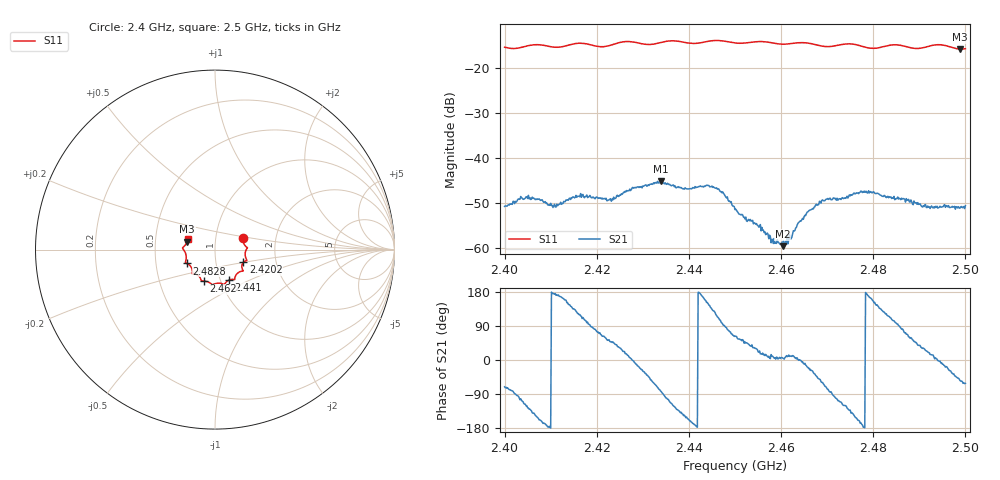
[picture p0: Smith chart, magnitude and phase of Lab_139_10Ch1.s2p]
# Hz S RI R 50
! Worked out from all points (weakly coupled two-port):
!   601 points, 2.4 GHz to 2.5 GHz, reference 50 ohm
!   highest |S21| = -45.16 dB at 2.434 GHz (marker M1); lowest = -59.5 dB at 2.4603 GHz (marker M2)
!   lowest |S11| = -15.8 dB at 2.4988 GHz (marker M3), VSWR 1.39, Z = 36.4 + j3.29 ohm
!   |S11| at or under -10 dB: start of sweep to end of sweep
!   S12 and S22 are empty: the file has one direction only
!   S11 on the Smith chart (normalised r, x): 2.4 GHz: 1.36, +0.18; 2.4202 GHz: 1.36, -0.20; 2.441 GHz: 1.10, -0.39; 2.462 GHz: 0.84, -0.30; 2.4828 GHz: 0.72, -0.11; 2.5 GHz: 0.73, +0.09
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2.4e9  0.1574 0.0631  0.000959 -0.00275  0 0  0 0
2.405e9  0.1752 0.0145  -0.00211 -0.00288  0 0  0 0
2.411e9  0.1687 -0.0163  -0.00286 0.000235  0 0  0 0
2.416667e9  0.1778 -0.0602  -0.00157 0.00333  0 0  0 0
2.420167e9  0.1581 -0.0708  0.00104 0.00348  0 0  0 0
2.423e9  0.1494 -0.0974  0.00238 0.00263  0 0  0 0
2.433333e9  0.1122 -0.1511  0.00143 -0.00509  0 0  0 0
2.434e9  0.111 -0.1567  0.000626 -0.00548  0 0  0 0
2.441e9  0.0784 -0.1695  -0.00458 -0.000983  0 0  0 0
2.446e9  0.0507 -0.1949  -0.00215 0.00417  0 0  0 0
2.45e9  0.0285 -0.1872  0.00121 0.0024  0 0  0 0
2.458333e9  -0.0269 -0.1867  0.00112 0.00015  0 0  0 0
2.460333e9  -0.0441 -0.178  0.00105 9.6e-05  0 0  0 0
2.462e9  -0.0604 -0.1756  0.00124 0.000227  0 0  0 0
2.466667e9  -0.078 -0.1681  0.00239 -0.00127  0 0  0 0
2.469333e9  -0.0896 -0.1482  0.00142 -0.00307  0 0  0 0
2.477667e9  -0.1262 -0.1185  -0.00411 -0.000603  0 0  0 0
2.482833e9  -0.1574 -0.0772  -0.00194 0.0031  0 0  0 0
2.483333e9  -0.1606 -0.076  -0.00154 0.00329  0 0  0 0
2.492e9  -0.1736 -0.00207  0.00269 0.000968  0 0  0 0
2.498833e9  -0.1553 0.044  0.00163 -0.00226  0 0  0 0
2.5e9  -0.1516 0.061  0.00142 -0.00261  0 0  0 0
